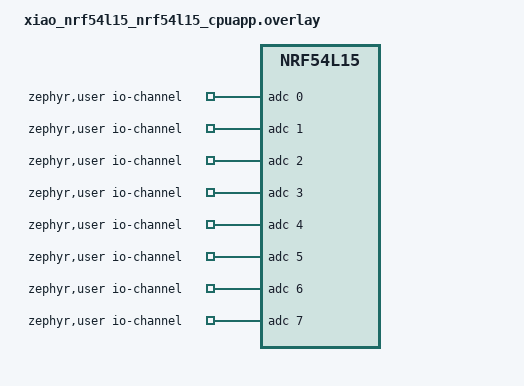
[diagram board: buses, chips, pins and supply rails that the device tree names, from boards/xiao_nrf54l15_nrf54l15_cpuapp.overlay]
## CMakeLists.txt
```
cmake_minimum_required(VERSION 3.20.0)

set(BOARD_ROOT "${CMAKE_CURRENT_SOURCE_DIR}")
find_package(Zephyr REQUIRED HINTS $ENV{ZEPHYR_BASE})

project(zephyr_test)

file(GLOB app_sources src/*.c)
target_sources(app PRIVATE ${app_sources})
```

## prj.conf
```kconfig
CONFIG_SERIAL=y
CONFIG_UART_ASYNC_API=y
CONFIG_CONSOLE=y
CONFIG_SHELL=y
CONFIG_UART_CONSOLE=y
CONFIG_SHELL_BACKEND_SERIAL=y
CONFIG_SHELL_BACKEND_DUMMY=y

CONFIG_GPIO=y
CONFIG_GPIO_SHELL=y
CONFIG_INPUT=y
CONFIG_I2C=y
CONFIG_I2C_SHELL=y
CONFIG_SPI=y
CONFIG_SPI_SHELL=y

CONFIG_ADC=y
CONFIG_ADC_ASYNC=y
CONFIG_ADC_SHELL=y

CONFIG_AUDIO=y
CONFIG_AUDIO_DMIC=y

CONFIG_NFC_T2T_NRFXLIB=y
CONFIG_NFC_NDEF=y
CONFIG_NFC_NDEF_MSG=y
CONFIG_NFC_NDEF_RECORD=y
CONFIG_NFC_NDEF_TEXT_RECORD=y

CONFIG_SENSOR=y
CONFIG_POWEROFF=y

# Enable the Bluetooth stack
CONFIG_SYSTEM_WORKQUEUE_STACK_SIZE=2048

CONFIG_BT=y
CONFIG_BT_CENTRAL=y
CONFIG_BT_PERIPHERAL=y
CONFIG_BT_PRIVACY=y
CONFIG_BT_SMP=y
CONFIG_BT_PASSKEY_KEYPRESS=y
CONFIG_BT_SIGNING=y
CONFIG_BT_FIXED_PASSKEY=y
CONFIG_BT_ATT_PREPARE_COUNT=2
CONFIG_BT_GATT_CLIENT=y
CONFIG_BT_L2CAP_DYNAMIC_CHANNEL=y
CONFIG_BT_SHELL=y
CONFIG_BT_DEVICE_NAME="xiao_nrf54l15"
CONFIG_BT_DEVICE_NAME_DYNAMIC=y
CONFIG_BT_L2CAP_TX_BUF_COUNT=4
CONFIG_BT_ID_MAX=2
CONFIG_BT_EATT=y
CONFIG_BT_L2CAP_ECRED=y
CONFIG_BT_GATT_DYNAMIC_DB=y
CONFIG_BT_GATT_NOTIFY_MULTIPLE=y
CONFIG_BT_HRS=y
CONFIG_BT_FILTER_ACCEPT_LIST=y
CONFIG_BT_REMOTE_INFO=y
CONFIG_BT_REMOTE_VERSION=y
CONFIG_BT_GATT_AUTO_DISCOVER_CCC=y

CONFIG_BT_SETTINGS=y

CONFIG_BT_EXT_ADV=y
CONFIG_BT_EXT_ADV_LEGACY_SUPPORT=y
CONFIG_BT_PER_ADV=y
CONFIG_BT_PER_ADV_SYNC=y

CONFIG_BT_USER_DATA_LEN_UPDATE=y
CONFIG_BT_AUTO_DATA_LEN_UPDATE=y

CONFIG_BT_EAD=y

CONFIG_BT_USER_PHY_UPDATE=y
CONFIG_BT_AUTO_PHY_UPDATE=y

CONFIG_BT_ISO_BROADCASTER=y
CONFIG_BT_ISO_SYNC_RECEIVER=y
CONFIG_BT_ISO_CENTRAL=y
CONFIG_BT_ISO_PERIPHERAL=y

CONFIG_BT_CTLR_TX_PWR_PLUS_3=y
CONFIG_BT_CTLR_TX_PWR_DYNAMIC_CONTROL=y
# open app log
CONFIG_LOG=y
# CONFIG_LOG_DEFAULT_LEVEL=3
# CONFIG_SENSOR_LOG_LEVEL_DBG=y
# CONFIG_I2C_LOG_LEVEL_DBG=y
```

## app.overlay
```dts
&uart20 {
 	current-speed = <921600>;
 };

&uart21 {
 	current-speed = <921600>;
 };
```

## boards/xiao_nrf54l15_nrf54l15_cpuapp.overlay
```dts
/ {
	chosen {
		zephyr,console = &uart21;
		zephyr,shell-uart = &uart21;
		nordic,rpc-uart = &uart21;
	};

	zephyr,user {
		io-channels = <&adc 0>, <&adc 1>, <&adc 2>, <&adc 3>,
			<&adc 4>, <&adc 5>, <&adc 6>, <&adc 7>;
	};
};

// &uart21 {
//  	current-speed = <921600>;
// };
&uart20 {
	status = "disabled";
};
```

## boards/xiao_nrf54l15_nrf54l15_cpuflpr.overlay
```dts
/ {
	chosen {
		zephyr,console = &uart21;
		zephyr,shell-uart = &uart21;
	};
};

&uart21 {
	current-speed = <921600>;
	status = "okay";
};
```

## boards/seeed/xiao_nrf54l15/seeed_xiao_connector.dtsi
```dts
/*
 * SPDX-License-Identifier: Apache-2.0
 */

/ {
	xiao_d: connector {
		compatible = "seeed,xiao-gpio";
		#gpio-cells = <2>;
		gpio-map-mask = <0xffffffff 0xffffffc0>;
		gpio-map-pass-thru = <0 0x3f>;
		gpio-map = <0 0 &gpio1 4 0>,	/* D0 */
			   <1 0 &gpio1 5 0>,	/* D1 */
			   <2 0 &gpio1 6 0>,	/* D2 */
			   <3 0 &gpio1 7 0>,	/* D3 */
			   <4 0 &gpio1 10 0>,	/* D4 */
			   <5 0 &gpio1 1 0>,	/* D5 */
			   <6 0 &gpio2 8 0>,	/* D6 */
			   <7 0 &gpio2 7 0>,	/* D7 */
			   <8 0 &gpio2 1 0>,	/* D8 */
			   <9 0 &gpio2 4 0>,	/* D9 */
			   <10 0 &gpio2 2 0>;	/* D10 */
	};
};

xiao_i2c: &i2c22 {};
xiao_serial: &uart21 {};
xiao_adc: &adc {};
```

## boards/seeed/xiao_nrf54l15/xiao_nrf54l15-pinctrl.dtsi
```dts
 /*
 * SPDX-License-Identifier: Apache-2.0
 */
 
&pinctrl {
	/omit-if-no-ref/ uart20_default: uart20_default {
		group1 {
			psels = <NRF_PSEL(UART_TX, 1, 9)>;
		};
		group2 {
			psels = <NRF_PSEL(UART_RX, 1, 8)>;
			bias-pull-up;
		};
	};

	/omit-if-no-ref/ uart20_sleep: uart20_sleep {
		group1 {
			psels = <NRF_PSEL(UART_TX, 1, 9)>,
				<NRF_PSEL(UART_RX, 1, 8)>;
			low-power-enable;
		};
	};

	/omit-if-no-ref/ uart21_default: uart21_default {
		group1 {
			psels = <NRF_PSEL(UART_TX, 2, 8)>;
		};
		group2 {
			psels = <NRF_PSEL(UART_RX, 2, 7)>;
			bias-pull-up;
		};
	};

	/omit-if-no-ref/ uart21_sleep: uart21_sleep {
		group1 {
			psels = <NRF_PSEL(UART_TX, 2, 8)>,
				<NRF_PSEL(UART_RX, 2, 7)>;
			low-power-enable;
		};
	};

	/omit-if-no-ref/ i2c22_default: i2c22_default {
		group1 {
			psels = <NRF_PSEL(TWIM_SDA, 1, 10)>,
				<NRF_PSEL(TWIM_SCL, 1, 11)>;
		};
	};

	/omit-if-no-ref/ i2c22_sleep: i2c22_sleep {
		group1 {
			psels = <NRF_PSEL(TWIM_SDA, 1, 10)>,
				<NRF_PSEL(TWIM_SCL, 1, 11)>;
			low-power-enable;
		};
	};

	/omit-if-no-ref/ i2c30_default: i2c30_default {
		group1 {
			psels = <NRF_PSEL(TWIM_SDA, 0, 4)>,
				<NRF_PSEL(TWIM_SCL, 0, 3)>;
		};
	};

	/omit-if-no-ref/ i2c30_sleep: i2c30_sleep {
		group1 {
			psels = <NRF_PSEL(TWIM_SDA, 0, 4)>,
				<NRF_PSEL(TWIM_SCL, 0, 3)>;
			low-power-enable;
		};
	};
	/omit-if-no-ref/ spi00_default: spi00_default {
		group1 {
			psels = <NRF_PSEL(SPIM_SCK, 2, 1)>,
				<NRF_PSEL(SPIM_MOSI, 2, 2)>,
				<NRF_PSEL(SPIM_MISO, 2, 4)>;
		};
	};

	/omit-if-no-ref/ spi00_sleep: spi00_sleep {
		group1 {
			psels = <NRF_PSEL(SPIM_SCK, 2, 1)>,
				<NRF_PSEL(SPIM_MOSI, 2, 2)>,
				<NRF_PSEL(SPIM_MISO, 2, 4)>;
				low-power-enable;
		};
	};

	/omit-if-no-ref/ spi22_default: spi22_default {
		group1 {
			psels = <NRF_PSEL(SPIM_SCK, 1, 8)>,
				<NRF_PSEL(SPIM_MOSI, 1, 10)>,
				<NRF_PSEL(SPIM_MISO, 1, 9)>;
		};
	};

	/omit-if-no-ref/ spi22_sleep: spi22_sleep {
		group1 {
			psels = <NRF_PSEL(SPIM_SCK, 1, 8)>,
				<NRF_PSEL(SPIM_MOSI, 1, 10)>,
				<NRF_PSEL(SPIM_MISO, 1, 9)>;
				low-power-enable;
		};
	};

	pdm20_default: pdm20_default {
		group1 {
			psels = <NRF_PSEL(PDM_CLK, 1, 12)>,
				<NRF_PSEL(PDM_DIN, 1, 13)>;
		};
	};
};
```

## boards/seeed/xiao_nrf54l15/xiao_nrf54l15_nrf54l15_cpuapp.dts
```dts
/*
 * SPDX-License-Identifier: Apache-2.0
 */

/dts-v1/;
#include <nordic/nrf54l15_cpuapp.dtsi>
#include "xiao_nrf54l15_common.dtsi"

/ {
	model = "Seeed XIAO nRF54L15";
	compatible = "seeed,xiao-nrf54l15-cpuapp";

	chosen {
		zephyr,code-partition = &slot0_partition;
		zephyr,sram = &cpuapp_sram;
		zephyr,flash = &cpuapp_rram;
		zephyr,console = &uart20;
		zephyr,shell-uart = &uart20;
		nordic,rpc-uart = &uart20;
	};
};

&cpuapp_sram {
	status = "okay";
};

&grtc {
	owned-channels = <0 1 2 3 4 5 6 7 8 9 10 11>;
	/* Channels 7-11 reserved for Zero Latency IRQs, 3-4 for FLPR */
	child-owned-channels = <3 4 7 8 9 10 11>;
	status = "okay";
};

&clock {
	status = "okay";
};

&uart20 {
	status = "okay";
};

&uart21 {
	status = "okay";
};

&i2c22 {
	status = "okay";
};

&i2c30 {
	status = "okay";
};

&lsm6dso {
	status = "okay";
};

&spi00 {
	status = "okay";
};

&pdm20 {
	status = "okay";
};

&adc {
	status = "okay";
};

&gpio0 {
	status = "okay";

	imu_power_default_on: imu_power_default_on {
		gpio-hog;
		gpios = <1 GPIO_ACTIVE_HIGH>;
		line-name = "imu-power-enable";
	};
};

&gpio1 {
	status = "okay";
};

&gpio2 {
	status = "okay";
};

&gpiote20 {
	status = "okay";
};

&gpiote30 {
	status = "okay";
};

&regulators {
	status = "okay";
};

&vregmain {
	status = "okay";
	regulator-initial-mode = <NRF5X_REG_MODE_DCDC>;
};

&lfxo {
	load-capacitors = "internal";
	load-capacitance-femtofarad = <16000>;
	status = "okay";
};

&cpuapp_rram {
	partitions {
		compatible = "fixed-partitions";
		#address-cells = <1>;
		#size-cells = <1>;

		boot_partition: partition@0 {
			label = "mcuboot";
			reg = <0x0 DT_SIZE_K(64)>;
		};

		slot0_partition: partition@10000 {
			label = "image-0";
			reg = <0x10000 DT_SIZE_K(664)>;
		};

		slot1_partition: partition@b6000 {
			label = "image-1";
			reg = <0xb6000 DT_SIZE_K(664)>;
		};

		storage_partition: partition@15c000 {
			label = "storage";
			reg = <0x15c000 DT_SIZE_K(36)>;
		};
	};
};
```

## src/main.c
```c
#include <zephyr/kernel.h>
#include <zephyr/shell/shell.h>
#include <nrfx_power.h>
#include <zephyr/sys/poweroff.h>
#include <zephyr/drivers/gpio.h>
#include "mic.h"
#include "button.h"
#include "adc.h"
#include "imu.h"
#include "systemoff.h"

static const struct gpio_dt_spec led0 = GPIO_DT_SPEC_GET(DT_ALIAS(led0), gpios);
static int init_module(void)
{
	int ret;

	nrfx_power_constlat_mode_request();
	
	ret = mic_init();
	if (ret < 0)
	{
		printk("Failed to initialize mic module (%d)\n", ret);
	}

	ret = adc_init();
	if (ret < 0)
	{
		printk("Failed to initialize battery module (%d)\n", ret);
	}

	ret = imu_init();
	if (ret < 0)
	{
		printk("Failed to initialize imu module (%d)\n", ret);
	}
	return 0;
}

int main(void)
{
	if (init_module() < 0)
	{
		return -1;
	}
	printf("please start test for %s\n", CONFIG_BOARD_TARGET);
	gpio_pin_configure_dt(&led0, GPIO_OUTPUT_ACTIVE | GPIO_OUTPUT_HIGH);

	while (1)
	{
		shell_execute_cmd(NULL, "button check");
		gpio_pin_toggle_dt(&led0);
		if(sys_off_flag == true)
		{
			gpio_pin_set_dt(&led0, 1);
			sys_poweroff();
		}
	}
	return 0;
}
```

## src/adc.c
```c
#include <inttypes.h>
#include <stddef.h>
#include <stdint.h>
#include <zephyr/device.h>
#include <zephyr/devicetree.h>
#include <zephyr/drivers/regulator.h>
#include <zephyr/drivers/adc.h>
#include <zephyr/kernel.h>
#include <zephyr/shell/shell.h>
#include "adc.h"

LOG_MODULE_REGISTER(adc);

#if !DT_NODE_EXISTS(DT_PATH(zephyr_user)) || \
	!DT_NODE_HAS_PROP(DT_PATH(zephyr_user), io_channels)
#error "No suitable devicetree overlay specified"
#endif

#define DT_SPEC_AND_COMMA(node_id, prop, idx) \
	ADC_DT_SPEC_GET_BY_IDX(node_id, idx),

/* Data of ADC io-channels specified in devicetree. */
static const struct adc_dt_spec adc_channels[] = {
	DT_FOREACH_PROP_ELEM(DT_PATH(zephyr_user), io_channels,
						 DT_SPEC_AND_COMMA)};

static const struct device *const vbat_reg = DEVICE_DT_GET(DT_NODELABEL(vbat_pwr));

static int cmd_adc_get(const struct shell *sh, size_t argc, char **argv)
{
	int err;
	uint16_t buf;
	struct adc_sequence sequence = {
		.buffer = &buf,
		/* buffer size in bytes, not number of samples */
		.buffer_size = sizeof(buf),
	};

	regulator_enable(vbat_reg);
	k_sleep(K_MSEC(100));
	
	/* Configure channels individually prior to sampling. */
	for (size_t i = 0U; i < ARRAY_SIZE(adc_channels); i++)
	{
		if (!adc_is_ready_dt(&adc_channels[i]))
		{
			shell_error(sh, "ADC controller device %s not ready\n", adc_channels[i].dev->name);
			return 0;
		}

		err = adc_channel_setup_dt(&adc_channels[i]);
		if (err < 0)
		{
			shell_error(sh, "Could not setup channel #%d (%d)\n", i, err);
			return 0;
		}
	}

	for (size_t i = 0U; i < ARRAY_SIZE(adc_channels); i++)
	{
		int32_t val_mv;

		shell_print(sh, "channel %d: ",
					adc_channels[i].channel_id);

		(void)adc_sequence_init_dt(&adc_channels[i], &sequence);

		err = adc_read_dt(&adc_channels[i], &sequence);
		if (err < 0)
		{
			shell_error(sh, "Could not read (%d)\n", err);
			continue;
		}

		/*
		 * If using differential mode, the 16 bit value
		 * in the ADC sample buffer should be a signed 2's
		 * complement value.
		 */
		if (adc_channels[i].channel_cfg.differential)
		{
			val_mv = (int32_t)((int16_t)buf);
		}
		else
		{
			val_mv = (int32_t)buf;
		}
		shell_print(sh, "		raw:%" PRId32, val_mv);
		err = adc_raw_to_millivolts_dt(&adc_channels[i],
									   &val_mv);
		/* conversion to mV may not be supported, skip if not */
		if (err < 0)
		{
			shell_error(sh, " (value in mV not available)\n");
		}
		else
		{
			shell_print(sh, "		vol = %" PRId32 " mV\n", val_mv);
		}
	}

	regulator_disable(vbat_reg);
	return 0;
}

static int cmd_bat_get(const struct shell *sh, size_t argc, char **argv)
{
	int err;
	uint16_t buf;
	int32_t val_mv;
	struct adc_sequence sequence = {
		.buffer = &buf,
		/* buffer size in bytes, not number of samples */
		.buffer_size = sizeof(buf),
	};

	regulator_enable(vbat_reg);
	k_sleep(K_MSEC(100));

	/* Configure channels individually prior to sampling. */
	if (!adc_is_ready_dt(&adc_channels[7]))
	{
		shell_error(sh, "ADC controller device %s not ready\n", adc_channels[7].dev->name);
		return 0;
	}

	err = adc_channel_setup_dt(&adc_channels[7]);
	if (err < 0)
	{
		shell_error(sh, "Could not setup channel #7 (%d)\n", err);
		return 0;
	}

	(void)adc_sequence_init_dt(&adc_channels[7], &sequence);

	err = adc_read_dt(&adc_channels[7], &sequence);
	if (err < 0)
	{
		shell_error(sh, "Could not read (%d)\n", err);
		return 0;
	}

	/*
	 * If using differential mode, the 16 bit value
	 * in the ADC sample buffer should be a signed 2's
	 * complement value.
	 */
	if (adc_channels[7].channel_cfg.differential)
	{
		val_mv = (int32_t)((int16_t)buf);
	}
	else
	{
		val_mv = (int32_t)buf;
	}
	err = adc_raw_to_millivolts_dt(&adc_channels[7],
								   &val_mv);
	/* conversion to mV may not be supported, skip if not */
	if (err < 0)
	{
		shell_error(sh, " value in mV not available\n");
	}
	else
	{
		shell_print(sh, "bat vol = %" PRId32 " mV\n", val_mv * 2);
	}

	regulator_disable(vbat_reg);
	return 0;
}

int adc_init(void)
{
	int err;
	err = regulator_disable(vbat_reg);
	if (err < 0)
	{
		LOG_ERR("Failed to configure enable pin (%d)", err);
		return err;
	}

	return 0;
}

SHELL_STATIC_SUBCMD_SET_CREATE(sub_adc_cmds,
							   SHELL_CMD(get, NULL, "Get ADC voltage", cmd_adc_get),
							   SHELL_CMD(bat, NULL, "Get bat voltage", cmd_bat_get),
							   SHELL_SUBCMD_SET_END);

SHELL_CMD_REGISTER(adc_read, &sub_adc_cmds, "Get ADC voltage", NULL);
```

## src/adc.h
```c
#ifndef ADC_H
#define ADC_H

#include <zephyr/kernel.h>
#include <zephyr/input/input.h>

int adc_init(void);

#endif // ADC_H
```

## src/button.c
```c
#include <errno.h>

#include "button.h"
#include <zephyr/kernel.h>
#include <zephyr/pm/device_runtime.h>
#include <zephyr/shell/shell.h>

static const struct device *const buttons = DEVICE_DT_GET(DT_ALIAS(buttons));
K_MSGQ_DEFINE(input_button, sizeof(struct input_event), 10, 1);

static void buttons_input_cb(struct input_event *evt, void *user_data)
{
	ARG_UNUSED(user_data);

	(void)k_msgq_put(&input_button, evt, K_NO_WAIT);
}

INPUT_CALLBACK_DEFINE(buttons, buttons_input_cb, NULL);

static int cmd_buttons_check(const struct shell *sh, size_t argc, char **argv)
{
	int ret;

	ARG_UNUSED(argc);
	ARG_UNUSED(argv);

	ret = pm_device_runtime_get(buttons);
	if (ret < 0) {
		shell_error(sh, "Failed to get device (%d)", ret);
		return 0;
	}

	k_msgq_purge(&input_button);

	while (1) {
		int ret;
		struct input_event evt;

		ret = k_msgq_get(&input_button, &evt, K_MSEC(500));
		if (ret == -EAGAIN) {
			// shell_error(sh, "No input received");
			return 0;
		}

		switch (evt.code) {
		case INPUT_KEY_ENTER:
			if (evt.value == 1) {
				printf("usr button pressed\n");
				// shell_execute_cmd(sh, "sys off");
			} else {
				printf("usr button released\n");
				pm_device_runtime_put(buttons);
				return 0;
			}
			break;
		}
	}

	ret = pm_device_runtime_put(buttons);
	if (ret < 0) {
		shell_error(sh, "Failed to put device (%d)", ret);
		return 0;
	}

	return 0;
}

SHELL_STATIC_SUBCMD_SET_CREATE(sub_buttons_cmds,
			       SHELL_CMD(check, NULL, "Check buttons", cmd_buttons_check),
			       SHELL_SUBCMD_SET_END);

SHELL_CMD_REGISTER(button, &sub_buttons_cmds, "Buttons", NULL);
```

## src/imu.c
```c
#include <zephyr/drivers/sensor.h>
#include <zephyr/shell/shell.h>
#include <zephyr/drivers/regulator.h>
#include <nrfx.h>

static const struct device *const imu = DEVICE_DT_GET(DT_NODELABEL(lsm6dso));
static const struct device *const  lsm6dso_reg = DEVICE_DT_GET(DT_NODELABEL(pdm_imu_pwr));

static int cmd_imu_get(const struct shell *sh, size_t argc, char **argv)
{
    int ret;
    struct sensor_value accel_data[3];
    struct sensor_value gyro_data[3];
    struct sensor_value odr_attr;
    /* set accel/gyro sampling frequency to 12.5 Hz */
    odr_attr.val1 = 12.5;
    odr_attr.val2 = 0;
    regulator_enable(lsm6dso_reg);

    k_sleep(K_MSEC(100));
    if (!device_is_ready(imu)) {
        shell_error(sh, "Device not ready\n");
        return -ENODEV;
    }

    ret = sensor_attr_set(imu, SENSOR_CHAN_ACCEL_XYZ, SENSOR_ATTR_SAMPLING_FREQUENCY, &odr_attr);
    if (ret)
    {
        shell_error(sh, "Failed to set accel sampling frequency\n");
        return ret;
    }

    ret = sensor_attr_set(imu, SENSOR_CHAN_GYRO_XYZ, SENSOR_ATTR_SAMPLING_FREQUENCY, &odr_attr);
    if (ret)
    {
        shell_error(sh, "Failed to set gyro sampling frequency\n");
        return ret;
    }
    k_sleep(K_MSEC(500));
    ret = sensor_sample_fetch(imu);
    if (ret)
    {
        shell_error(sh, "Failed to fetch sample\n");
        return ret;
    }

    ret = sensor_channel_get(imu, SENSOR_CHAN_ACCEL_XYZ, accel_data);
    if (ret)
    {
        shell_error(sh, "Failed to get accel data\n");
        return ret;
    }

    ret = sensor_channel_get(imu, SENSOR_CHAN_GYRO_XYZ, gyro_data);
    if (ret)
    {
        shell_error(sh, "Failed to get gyro data\n");
        return ret;
    }

    regulator_disable(lsm6dso_reg);
    for (int i = 0; i < 3; i++) {
        if (accel_data[i].val1 < 0 && accel_data[i].val2 > 0) {
            accel_data[i].val2 = 1000000 - accel_data[i].val2;
        }
        if (gyro_data[i].val1 < 0 && gyro_data[i].val2 > 0) {
            gyro_data[i].val2 = 1000000 - gyro_data[i].val2;
        }
    }
    
    shell_print(sh, "accel data: %d.%06u, %d.%06u, %d.%06u",
              accel_data[0].val1, (uint32_t)abs(accel_data[0].val2),
              accel_data[1].val1, (uint32_t)abs(accel_data[1].val2),
              accel_data[2].val1, (uint32_t)abs(accel_data[2].val2));
    shell_print(sh, "gyro data: %d.%06u, %d.%06u, %d.%06u",
              gyro_data[0].val1, (uint32_t)abs(gyro_data[0].val2),
              gyro_data[1].val1, (uint32_t)abs(gyro_data[1].val2),
              gyro_data[2].val1, (uint32_t)abs(gyro_data[2].val2));
    return ret;
}

SHELL_STATIC_SUBCMD_SET_CREATE(sub_imu_cmds, 
					SHELL_CMD(get, NULL, "Get sensor data", cmd_imu_get),
			       SHELL_SUBCMD_SET_END);

SHELL_CMD_REGISTER(imu, &sub_imu_cmds, "IMU sensor", NULL);

int imu_init(void)
{
	if (!device_is_ready(imu)) {
		return -ENODEV;
	}
    regulator_disable(lsm6dso_reg);
	return 0;
}
```

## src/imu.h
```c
#ifndef APP_SRC_IMU_H_
#define APP_SRC_IMU_H_

int imu_init(void);

#endif /* APP_SRC_IMU_H_ */
```

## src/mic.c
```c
#include <stdio.h>

#include <zephyr/device.h>
#include <zephyr/kernel.h>
#include <zephyr/audio/dmic.h>
#include <zephyr/shell/shell.h>
#include <zephyr/sys/util.h>

#define BITS_PER_BYTE 8

#define SAMPLE_RATE_HZ 16000
#define SAMPLE_BITS    16
#define TIMEOUT_MS     1000
#define CAPTURE_MS     500
#define BLOCK_SIZE     ((SAMPLE_BITS / BITS_PER_BYTE) * (SAMPLE_RATE_HZ * CAPTURE_MS) / 1000)
#define BLOCK_COUNT    4

static const struct device *const dmic = DEVICE_DT_GET(DT_ALIAS(dmic20));
static const struct device *const  pdm_reg = DEVICE_DT_GET(DT_NODELABEL(pdm_imu_pwr));

K_MEM_SLAB_DEFINE_STATIC(mem_slab, BLOCK_SIZE, BLOCK_COUNT, 4);

static struct pcm_stream_cfg stream = {
	.pcm_rate = SAMPLE_RATE_HZ,
	.pcm_width = SAMPLE_BITS,
	.block_size = BLOCK_SIZE,
	.mem_slab = &mem_slab,
};

static struct dmic_cfg cfg = {
	.io =
		{
			.min_pdm_clk_freq = 1000000,
			.max_pdm_clk_freq = 3500000,
			.min_pdm_clk_dc = 40,
			.max_pdm_clk_dc = 60,
		},
	.streams = &stream,
	.channel =
		{
			.req_num_streams = 1,
			.req_num_chan = 1,
		},
};

static bool initialized;

static int cmd_mic_capture(const struct shell *sh, size_t argc, char **argv)
{
	int ret,time = 1;
	void *buffer;
	uint32_t size;
	int16_t max_data = 0, min_data = 0, max_consecutive = 0;
	bool is_print = true;
	
	if (argc > 1) {
		time = atoi(argv[1]);
		// if time is 0, then do not print the data
		if (time < 1) {
			is_print = false;
			time = 1;
		}
	}
	time *= (1000 / CAPTURE_MS);
	if (!initialized) {
		shell_error(sh, "Microphone module not initialized");
		return -EPERM;
	}
	regulator_enable(pdm_reg);
	shell_print(sh, "S");
	ret = dmic_configure(dmic, &cfg);
	if (ret < 0) {
		shell_error(sh, "Failed to configure DMIC(%d)", ret);
		return ret;
	}
	ret = dmic_trigger(dmic, DMIC_TRIGGER_START);
	if (ret < 0) {
		shell_error(sh, "START trigger failed (%d)", ret);
		return ret;
	}
	for (int i = 0; i < time; i++) {
		ret = dmic_read(dmic, 0, &buffer, &size, TIMEOUT_MS);
		if (ret < 0) {
			shell_error(sh, "DMIC read failed (%d)", ret);
			k_mem_slab_free(&mem_slab, buffer);
			dmic_trigger(dmic, DMIC_TRIGGER_STOP);
			regulator_disable(pdm_reg);
			return ret;
		}

        int16_t *pdata = (int16_t *)buffer;
        int consecutive = 1;
        int max_consecutive_local = 1;
        for (int j = 0; j < size / sizeof(int16_t); j++)
        {
            if(j > 100)
            {
                if (pdata[j] > max_data) {
                    max_data = pdata[j];
                }
                if (pdata[j] < min_data) {
                    min_data = pdata[j];
                }
            }
            // 计算连续不变的值最大持续长度
            if (j > 0 && pdata[j] == pdata[j-1]) {
                consecutive++;
                if (consecutive > max_consecutive_local) {
                    max_consecutive_local = consecutive;
                }
            } else {
                consecutive = 1;
            }
            if (is_print)
                shell_print(sh, "%d", pdata[j]);
		}
		k_mem_slab_free(&mem_slab, buffer);
	}
	ret = dmic_trigger(dmic, DMIC_TRIGGER_STOP);
	if (ret < 0) {
		shell_error(sh, "STOP trigger failed (%d)", ret);
		regulator_disable(pdm_reg);
		return ret;
	}
	shell_print(sh, "E");
	shell_print(sh, "audio data Max: %d Min: %d Max consecutive: %d", max_data, min_data, max_consecutive);
	regulator_disable(pdm_reg);
	return 0;
}

SHELL_STATIC_SUBCMD_SET_CREATE(sub_mic_cmds,
			       SHELL_CMD(capture, NULL, "Capture microphone data", cmd_mic_capture),
			       SHELL_SUBCMD_SET_END);

SHELL_CMD_REGISTER(mic, &sub_mic_cmds, "Microphone", NULL);

int mic_init(void)
{
	if (!device_is_ready(dmic)) {
		return -ENODEV;
	}

	cfg.channel.req_chan_map_lo = dmic_build_channel_map(0, 0, PDM_CHAN_LEFT);

	initialized = true;

	return 0;
}
```

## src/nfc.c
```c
/*
 * Copyright (c) 2018 Nordic Semiconductor ASA
 *
 * SPDX-License-Identifier: LicenseRef-Nordic-5-Clause
 */

#include <zephyr/kernel.h>
#include <zephyr/sys/reboot.h>

#include <nfc_t2t_lib.h>
#include <nfc/ndef/msg.h>
#include <nfc/ndef/text_rec.h>
#include <zephyr/logging/log.h>
#include <zephyr/shell/shell.h>

LOG_MODULE_REGISTER(nfc);

#define MAX_REC_COUNT 3
#define NDEF_MSG_BUF_SIZE 128

#define NFC_FIELD_LED DK_LED1

/* Text message in English with its language code. */
static const uint8_t en_payload[] = {
    'H', 'e', 'l', 'l', 'o', ' ', 'W', 'o', 'r', 'l', 'd', '!'};
static const uint8_t en_code[] = {'e', 'n'};

/* Text message in Norwegian with its language code. */
static const uint8_t no_payload[] = {
    'H', 'a', 'l', 'l', 'o', ' ', 'V', 'e', 'r', 'd', 'e', 'n', '!'};
static const uint8_t no_code[] = {'N', 'O'};

/* Text message in Polish with its language code. */
static const uint8_t pl_payload[] = {
    'W', 'i', 't', 'a', 'j', ' ', 0xc5, 0x9a, 'w', 'i', 'e', 'c', 'i',
    'e', '!'};
static const uint8_t pl_code[] = {'P', 'L'};

/* Buffer used to hold an NFC NDEF message. */
static uint8_t ndef_msg_buf[NDEF_MSG_BUF_SIZE];

static void nfc_callback(void *context,
                         nfc_t2t_event_t event,
                         const uint8_t *data,
                         size_t data_length)
{
    ARG_UNUSED(context);
    ARG_UNUSED(data);
    ARG_UNUSED(data_length);

    switch (event)
    {
    case NFC_T2T_EVENT_FIELD_ON:
        LOG_INF("NFC field on");
        break;
    case NFC_T2T_EVENT_FIELD_OFF:
        LOG_INF("NFC field off");
        break;
    default:
        break;
    }
}

/**
 * @brief Function for encoding the NDEF text message.
 */
static int welcome_msg_encode(uint8_t *buffer, uint32_t *len)
{
    int err;

    /* Create NFC NDEF text record description in English */
    NFC_NDEF_TEXT_RECORD_DESC_DEF(nfc_en_text_rec,
                                  UTF_8,
                                  en_code,
                                  sizeof(en_code),
                                  en_payload,
                                  sizeof(en_payload));

    /* Create NFC NDEF text record description in Norwegian */
    NFC_NDEF_TEXT_RECORD_DESC_DEF(nfc_no_text_rec,
                                  UTF_8,
                                  no_code,
                                  sizeof(no_code),
                                  no_payload,
                                  sizeof(no_payload));

    /* Create NFC NDEF text record description in Polish */
    NFC_NDEF_TEXT_RECORD_DESC_DEF(nfc_pl_text_rec,
                                  UTF_8,
                                  pl_code,
                                  sizeof(pl_code),
                                  pl_payload,
                                  sizeof(pl_payload));

    /* Create NFC NDEF message description, capacity - MAX_REC_COUNT
     * records
     */
    NFC_NDEF_MSG_DEF(nfc_text_msg, MAX_REC_COUNT);

    /* Add text records to NDEF text message */
    err = nfc_ndef_msg_record_add(&NFC_NDEF_MSG(nfc_text_msg),
                                  &NFC_NDEF_TEXT_RECORD_DESC(nfc_en_text_rec));
    if (err < 0)
    {
        LOG_ERR("Cannot add first record!\n");
        return err;
    }
    err = nfc_ndef_msg_record_add(&NFC_NDEF_MSG(nfc_text_msg),
                                  &NFC_NDEF_TEXT_RECORD_DESC(nfc_no_text_rec));
    if (err < 0)
    {
        LOG_ERR("Cannot add second record!\n");
        return err;
    }
    err = nfc_ndef_msg_record_add(&NFC_NDEF_MSG(nfc_text_msg),
                                  &NFC_NDEF_TEXT_RECORD_DESC(nfc_pl_text_rec));
    if (err < 0)
    {
        LOG_ERR("Cannot add third record!\n");
        return err;
    }

    err = nfc_ndef_msg_encode(&NFC_NDEF_MSG(nfc_text_msg),
                              buffer,
                              len);
    if (err < 0)
    {
        LOG_ERR("Cannot encode message!");
    }
    return err;
}

static int cmd_nfc_run(const struct shell *sh, size_t argc, char **argv)
{
    uint32_t len = sizeof(ndef_msg_buf);

    shell_print(sh, "Starting NFC Text Record example\n");

    /* Set up NFC */
    if (nfc_t2t_setup(nfc_callback, NULL) < 0)
    {
        shell_error(sh, "Cannot setup NFC T2T library!\n");
        goto fail;
    }

    /* Encode welcome message */
    if (welcome_msg_encode(ndef_msg_buf, &len) < 0)
    {
        shell_error(sh, "Cannot encode message!\n");
        goto fail;
    }

    /* Set created message as the NFC payload */
    if (nfc_t2t_payload_set(ndef_msg_buf, len) < 0)
    {
        shell_error(sh, "Cannot set payload!\n");
        goto fail;
    }

    /* Start sensing NFC field */
    if (nfc_t2t_emulation_start() < 0)
    {
        shell_error(sh, "Cannot start emulation!\n");
        goto fail;
    }
    shell_print(sh, "NFC configuration done\n");

    return 0;

fail:
#if CONFIG_REBOOT
    sys_reboot(SYS_REBOOT_COLD);
#endif /* CONFIG_REBOOT */

    return -EIO;
}

SHELL_STATIC_SUBCMD_SET_CREATE(sub_nfc_cmds,
                               SHELL_CMD(play, NULL, "nfc display", cmd_nfc_run),
                               SHELL_SUBCMD_SET_END);

SHELL_CMD_REGISTER(nfc, &sub_nfc_cmds, "nfc display", NULL);
```

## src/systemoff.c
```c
#include <inttypes.h>
#include <stdio.h>
#include <nrfx_power.h>
#include <zephyr/device.h>
#include <zephyr/drivers/gpio.h>
#include <zephyr/kernel.h>
#include <zephyr/pm/device.h>
#include <zephyr/sys/util.h>
#include <zephyr/shell/shell.h>
#include <zephyr/drivers/wifi/nrf_wifi/bus/rpu_hw_if.h>
#include "systemoff.h"

bool sys_off_flag = false;
// static const struct gpio_dt_spec usr_btn = GPIO_DT_SPEC_GET_OR(DT_NODELABEL(usr_btn), gpios, {0});
static int cmd_sys_off(const struct shell *sh, size_t argc, char **argv)
{
    int rc;
#if defined(CONFIG_CONSOLE)
    const struct device *const cons = DEVICE_DT_GET(DT_CHOSEN(zephyr_console));

    if (!device_is_ready(cons))
    {
        shell_error(sh, "%s: device not ready.\n", cons->name);
        return 0;
    }
#endif

    shell_print(sh, "\n%s system off demo\n", CONFIG_BOARD);
    /* configure usr_btn as input, interrupt as level active to allow wake-up */
    // shell_print(sh, "Entering system off; press usr_btn to restart\n");
    // rc = gpio_pin_configure_dt(&usr_btn, GPIO_INPUT);
    // if (rc < 0)
    // {
    //     shell_error(sh, "Could not configure usr_btn GPIO (%d)\n", rc);
    //     return 0;
    // }

    // rc = gpio_pin_interrupt_configure_dt(&usr_btn, GPIO_INT_LEVEL_LOW);
    // if (rc < 0)
    // {
    //     shell_error(sh, "Could not configure usr_btn GPIO interrupt (%d)\n", rc);
    //     return 0;
    // }

#if defined(CONFIG_CONSOLE)
    rc = pm_device_action_run(cons, PM_DEVICE_ACTION_SUSPEND);
    if (rc < 0)
    {
        shell_error(sh, "Could not suspend console (%d)\n", rc);
        return 0;
    }
#endif
    irq_lock();
    nrfx_power_constlat_mode_free();
    sys_off_flag = true;
    return 0;
}

SHELL_STATIC_SUBCMD_SET_CREATE(sub_systemoff_cmds,
                               SHELL_CMD(off, NULL, "System off", cmd_sys_off),
                               SHELL_SUBCMD_SET_END);

SHELL_CMD_REGISTER(sys, &sub_systemoff_cmds, "System off", NULL);
```

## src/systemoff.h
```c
#ifndef APP_SRC_SYSTEMOFF_H_
#define APP_SRC_SYSTEMOFF_H_

extern bool sys_off_flag;

#endif /* APP_SRC_SYSTEMOFF_H_ */
```
